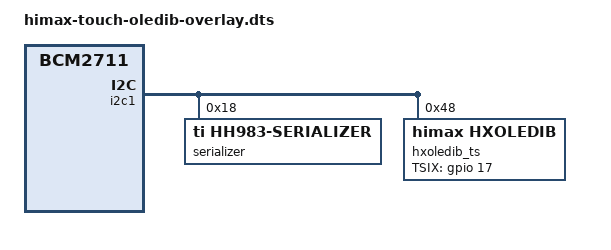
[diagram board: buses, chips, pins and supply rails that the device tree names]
/*
 * Device Tree Overlay for the Himax HX8530 touch controller on the 17"
 * OLED-IB (2560x1440), behind a TI DS90UH983 serializer + DS90UH988
 * deserializer on Raspberry Pi 4.
 *
 * The HX8530 sits on the 988's second local I2C bus (Port 1), physically at
 * 0x49; hh983-serializer (config_mode=2 ib_touch=1) routes it to the host at
 * 0x48 through 983 target slot 2. This overlay binds himax_oledib (Himax
 * A09.23, compatible "himax,hxoledib") to 0x48.
 *
 * The board routes no reset line to the controller, so there is no
 * himax,RESX: the driver then starts sensing itself after its flash check.
 *
 * micropanel's pi-config-txt.sh selects this overlay for oled-ib-17 only;
 * do not enable it together with himax-touch or himax-touch-oled.
 */

/dts-v1/;
/plugin/;

/ {
	compatible = "brcm,bcm2711";

	fragment@0 {
		target = <&i2c1>;
		__overlay__ {
			#address-cells = <1>;
			#size-cells = <0>;

			/* TI HH983 serializer */
			serializer@18 {
				compatible = "ti,hh983-serializer";
				reg = <0x18>;
				status = "okay";
			};

			/* Himax HX8530 touch (routed to host 0x48 via the 988 Port 1) */
			hxoledib_ts@48 {
				compatible = "himax,hxoledib";
				reg = <0x48>;
				status = "okay";
				report_type = <1>;
				himax,TSIX = <&gpio 17 0>; /* GPIO17 = touch interrupt (983 REM_INTB) */
				himax,panel-coords = <0 2560 0 1440>;
				himax,display-coords = <0 2560 0 1440>;
			};
		};
	};

	/* GPIO17 as input with pull-up */
	fragment@1 {
		target = <&gpio>;
		__overlay__ {
			hxoledib_pins: hxoledib_pins {
				brcm,pins = <17>;
				brcm,function = <0>;
				brcm,pull = <2>;
			};
		};
	};
};
